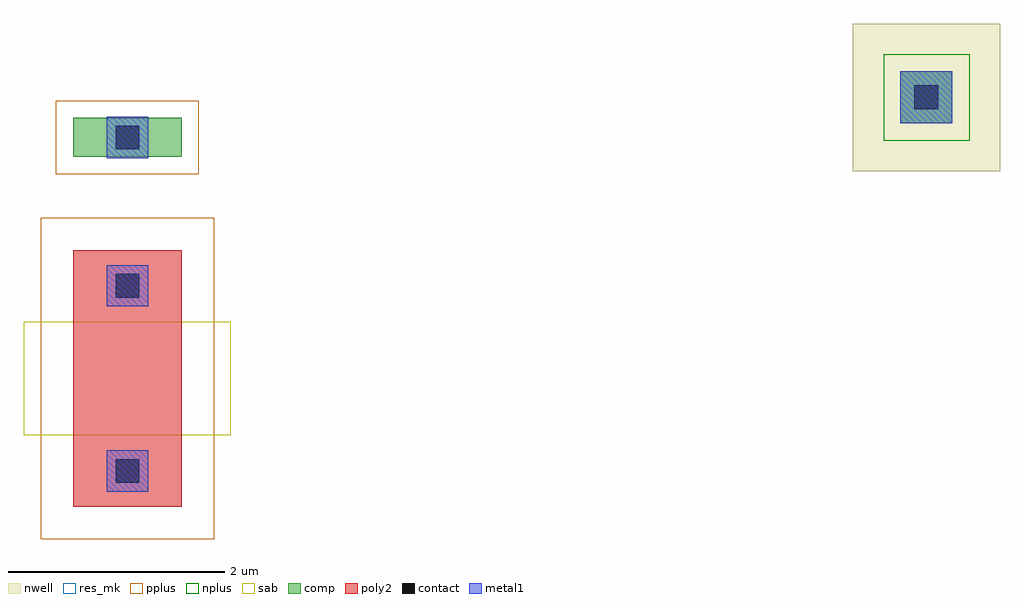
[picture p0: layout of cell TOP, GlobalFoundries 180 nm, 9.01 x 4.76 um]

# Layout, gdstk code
from math import pi, radians
import gdstk
lib = gdstk.Library(unit=1e-6, precision=5e-09)
def R(c, l, rs):  # rectangles x0, y0, x1, y1
    for r in rs: c.add(gdstk.rectangle(r[:2], r[2:], *l))
nwell = (21, 0)
comp = (22, 0)
poly2 = (30, 0)
pplus = (31, 0)
nplus = (32, 0)
contact = (33, 0)
metal1 = (34, 0)
sab = (49, 0)
res_mk = (110, 5)

ppolyf_u_resistor = lib.new_cell('ppolyf_u_resistor')
R(ppolyf_u_resistor, comp, [(-1.88,0,-1.52,1)])
R(ppolyf_u_resistor, poly2, [(-0.66,0,1.71,1)])
R(ppolyf_u_resistor, pplus, [(-0.96,-0.3,2.01,1.3), (-2.04,-0.16,-1.36,1.16)])
R(ppolyf_u_resistor, contact, [(-1.81,0.39,-1.59,0.61), (-0.44,0.39,-0.22,0.61), (1.27,0.39,1.49,0.61)])
R(ppolyf_u_resistor, metal1, [(-1.89,0.31,-1.51,0.69), (-0.52,0.31,-0.14,0.69), (1.19,0.31,1.57,0.69)])
R(ppolyf_u_resistor, sab, [(0,-0.455,1.05,1.455)])
R(ppolyf_u_resistor, res_mk, [(0,0,1.05,1)])
ppolyf_u_resistor.add(gdstk.Label('0', (-0.33,0.5), layer=34, texttype=10))
ppolyf_u_resistor.add(gdstk.Label('1', (1.38,0.5), layer=34, texttype=10))
ppolyf_u_resistor.add(gdstk.Label('s', (-1.7,0.5), layer=34, texttype=10))

top = lib.new_cell('TOP')
R(top, nwell, [(21.6,16.415,22.96,17.775)])
R(top, comp, [(22.04,16.855,22.52,17.335)])
R(top, nplus, [(21.885,16.695,22.68,17.495)])
R(top, contact, [(22.17,16.985,22.39,17.205)])
R(top, metal1, [(22.04,16.855,22.52,17.335)])
r = gdstk.Reference(ppolyf_u_resistor, (14.405,15.025), rotation=3*pi/2); r.repetition = gdstk.Repetition(1, 1, v1=(0,0), v2=(0,0)); top.add(r)

lib.write_gds('TOP.gds')
